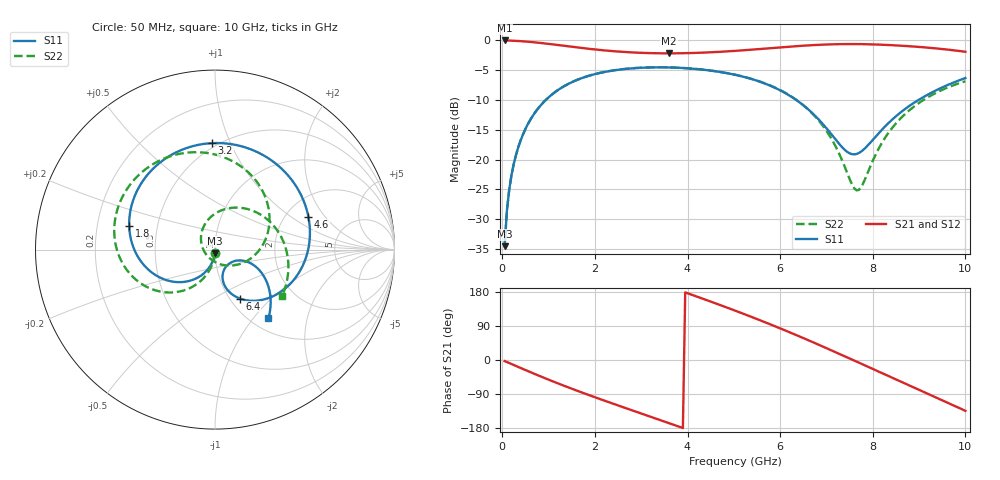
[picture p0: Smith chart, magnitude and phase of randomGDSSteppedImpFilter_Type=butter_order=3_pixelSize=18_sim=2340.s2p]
! freq	dB(S11)	phase(S11)	dB(S12)	phase(S12)
!  dB(S21)	phase(S21)	dB(S22)	phase(S22)
!S-par simulation data
#  GHz  S  DB  R 50
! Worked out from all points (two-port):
!   200 points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, 50 MHz to 10 GHz, reference 50 ohm
!   highest |S21| = 0.00 dB at 50 MHz (marker M1); lowest = -2.2 dB at 3.6 GHz (marker M2)
!   |S21| within 3 dB of the highest: start of sweep to end of sweep
!   lowest |S11| = -34.5 dB at 50 MHz (marker M3), VSWR 1.04, Z = 49.9 - j1.87 ohm
!   |S11| at or under -10 dB: start of sweep to 938.8 MHz; 6.348 GHz to 8.987 GHz (2.638 GHz wide, 34.4 % of centre)
!   |S22| runs from -34.5 to -4.5 dB; largest |S21 - S12| = 0
!   S11 on the Smith chart (normalised r, x): 50 MHz: 1.00, -0.04; 1.8 GHz: 0.34, +0.12; 3.2 GHz: 0.47, +0.86; 4.6 GHz: 2.64, +1.38; 6.4 GHz: 1.11, -0.67; 10 GHz: 1.20, -1.19
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0.05  -34.54 -93.1  -0.00 -2.7  -0.00 -2.7  -34.54 -92.3
0.1  -28.54 -96.3  -0.01 -5.4  -0.01 -5.4  -28.53 -94.7
0.2  -22.56 -102.7  -0.04 -10.7  -0.04 -10.7  -22.55 -99.4
0.5  -14.86 -121.2  -0.18 -26.5  -0.18 -26.5  -14.85 -113.1
1.1  -8.90 -156.4  -0.67 -56.8  -0.67 -56.8  -8.89 -138.4
1.75  -6.23 167.5  -1.30 -87.2  -1.30 -87.2  -6.22 -163.1
1.8  -6.10 164.9  -1.34 -89.4  -1.34 -89.4  -6.09 -164.9
2.4  -5.04 133.1  -1.80 -115.6  -1.80 -115.6  -5.02 174.4
3.2  -4.53 91.5  -2.13 -149.6  -2.13 -149.6  -4.52 148.3
3.4  -4.51 81.1  -2.16 -158.1  -2.16 -158.1  -4.50 141.8
3.6  -4.53 70.8  -2.17 -166.6  -2.17 -166.6  -4.52 135.3
4.6  -5.17 19.3  -1.95 149.8  -1.95 149.8  -5.16 100.7
5.05  -5.81 -3.3  -1.74 129.3  -1.74 129.3  -5.79 83.2
5.75  -7.48 -36.5  -1.32 95.9  -1.32 95.9  -7.44 52.2
6.4  -10.29 -63.0  -0.93 63.1  -0.93 63.1  -10.26 17.2
6.7  -12.24 -71.8  -0.79 47.3  -0.79 47.3  -12.31 -2.0
7.2  -16.66 -73.1  -0.64 20.4  -0.64 20.4  -17.83 -43.8
7.65  -19.06 -44.2  -0.61 -4.2  -0.61 -4.2  -25.17 -133.0
8.35  -13.79 -20.7  -0.77 -42.8  -0.77 -42.8  -15.39 103.4
9.15  -9.26 -32.5  -1.18 -87.1  -1.18 -87.1  -9.73 34.8
9.6  -7.54 -42.4  -1.53 -112.0  -1.53 -112.0  -7.96 -2.0
10  -6.31 -52.0  -1.90 -134.1  -1.90 -134.1  -6.85 -34.6
